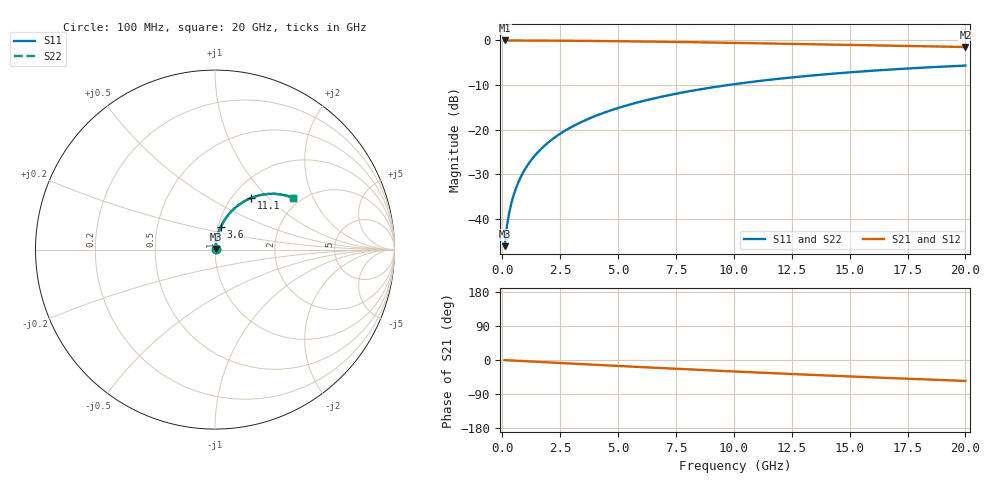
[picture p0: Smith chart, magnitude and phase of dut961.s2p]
! Touchstone file exported from HFSS 2026.1.0
!  File:  C:/ffzhzh/LocalFiles/Ansys_Project_Files/temp_train_BSMRDL_961_1783172431_55132.aedt
!  Generated:  09:41:57 PM Jul  4, 2026
!  Design:  BSMRDL
!  Project:  temp_train_BSMRDL_961_1783172431_55132
! Variables:
!  h_bsmrdl = 4.63um
!  h_ox = 20um
!  h_rdl = 5um
!  h_sub = 80um
!  h_tmrdl = 5um
!  h_tsv = 80um
!  h_via = 3um
!  l_bsmrdl = 815.8um
!  l_sub = 1215.8um
!  l_tmrdl = 200um
!  m_sub = 200um
!  pitch = 59.19um
!  r_tsv = 6um
!  s_tmrdl = 10um
!  w_bsmrdl = 21.24um
!  w_sub = 500um
!  w_tmrdl = 12um
!  x_tsv_center1 = 206um
!  x_tsv_center2 = 1043.04um
!  x_tsv_center3 = 1255.04um
!  x_tsv_center4 = 2092.08um
!  x_tsv_center5 = 2304.08um
!  x_tsv_center6 = 3141.12um
# GHz S MA R 50.000000
! Terminal data exported
! Port[1] = BSM_RDL1_1_T1
! Port[2] = BSM_RDL1_1_T2
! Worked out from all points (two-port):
!   200 points, 100 MHz to 20 GHz, reference 50 ohm
!   highest |S21| = -0.03 dB at 100 MHz (marker M1); lowest = -1.5 dB at 20 GHz (marker M2)
!   |S21| within 3 dB of the highest: start of sweep to end of sweep
!   lowest |S11| = -46.1 dB at 100 MHz (marker M3), VSWR 1.01, Z = 50.3 + j0.386 ohm
!   |S11| at or under -10 dB: start of sweep to 9.777 GHz
!   |S22| runs from -46.1 to -5.7 dB; largest |S21 - S12| = 8.2e-15
!   S11 on the Smith chart (normalised r, x): 100 MHz: 1.01, +0.01; 3.6 GHz: 1.03, +0.26; 11.1 GHz: 1.22, +0.80; 20 GHz: 1.81, +1.43
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0.1  0.004936 51.0  0.9969 -0.3  0.9969 -0.3  0.004936 51.0
! Gamma 0 0 0 0
! Port Impedance 50 0 50 0
0.2  0.008257 66.2  0.9967 -0.7  0.9967 -0.7  0.008257 66.2
0.3  0.01174 72.2  0.9965 -1.0  0.9965 -1.0  0.01174 72.2
0.4  0.01526 75.4  0.9964 -1.3  0.9964 -1.3  0.01526 75.4
0.5  0.01879 77.4  0.9962 -1.6  0.9962 -1.6  0.01879 77.4
0.7  0.0259 79.5  0.996 -2.3  0.996 -2.3  0.0259 79.5
1  0.03661 80.7  0.9955 -3.2  0.9955 -3.2  0.03661 80.7
1.4  0.05092 80.9  0.9946 -4.5  0.9946 -4.5  0.05092 80.9
1.7  0.06161 80.6  0.9938 -5.4  0.9938 -5.4  0.06161 80.6
2  0.07226 80.0  0.9929 -6.4  0.9929 -6.4  0.07226 80.1
2.7  0.09685 78.4  0.9903 -8.6  0.9903 -8.6  0.09685 78.4
3.5  0.1244 76.3  0.9865 -11.1  0.9865 -11.1  0.1244 76.3
3.6  0.1278 76.0  0.986 -11.4  0.986 -11.4  0.1278 76.0
4.3  0.1514 74.0  0.982 -13.6  0.982 -13.6  0.1514 74.0
5  0.1744 72.0  0.9777 -15.7  0.9777 -15.7  0.1744 72.0
6.8  0.2311 66.9  0.9646 -21.1  0.9646 -21.1  0.2311 66.9
8.3  0.2754 62.7  0.9522 -25.4  0.9522 -25.4  0.2754 62.7
10.1  0.3248 57.8  0.9359 -30.5  0.9359 -30.5  0.3248 57.8
11.1  0.3504 55.1  0.9264 -33.2  0.9264 -33.2  0.3504 55.1
13.4  0.4044 49.2  0.9038 -39.3  0.9038 -39.3  0.4044 49.2
16.7  0.4696 41.1  0.8717 -47.5  0.8717 -47.5  0.4696 41.1
20  0.5215 33.6  0.842 -55.2  0.842 -55.2  0.5215 33.6
